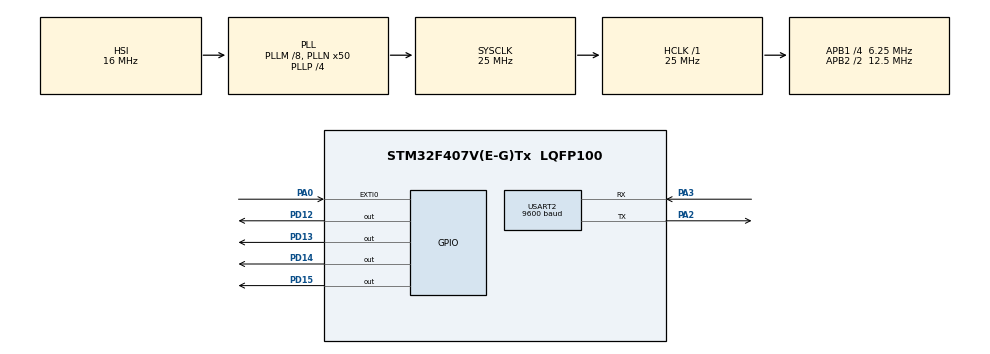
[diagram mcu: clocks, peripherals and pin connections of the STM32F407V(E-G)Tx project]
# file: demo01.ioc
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Mcu.Family=STM32F4
RCC.CortexFreq_Value=25000000
RCC.APB1CLKDivider=RCC_HCLK_DIV4
USART2.BaudRate=9600
RCC.SYSCLKSource=RCC_SYSCLKSOURCE_PLLCLK
ProjectManager.StackSize=0x400
PA0-WKUP.Signal=GPXTI0
PD13.Signal=GPIO_Output
PA3.Mode=Asynchronous
ProjectManager.TargetToolchain=STM32CubeIDE
RCC.HCLKFreq_Value=25000000
RCC.APB2TimFreq_Value=25000000
RCC.LSE_VALUE=32768
RCC.AHBFreq_Value=25000000
RCC.HSE_VALUE=8000000
board=STM32F407G-DISC1
RCC.VCOOutputFreq_Value=100000000
RCC.APB2Freq_Value=12500000
PD13.GPIO_PuPd=GPIO_NOPULL
PD14.GPIO_PuPd=GPIO_NOPULL
Mcu.Name=STM32F407V(E-G)Tx
PA2.Signal=USART2_TX
PD14.Signal=GPIO_Output
RCC.48MHZClocksFreq_Value=14285714.285714285
NVIC.EXTI0_IRQn=true\:0\:0\:false\:false\:true\:true\:true
RCC.SYSCLKFreq_VALUE=25000000
Mcu.Package=LQFP100
USART2.VirtualMode=VM_ASYNC
PD12.Signal=GPIO_Output
PD15.GPIO_PuPd=GPIO_NOPULL
ProjectManager.HeapSize=0x200
RCC.HSI_VALUE=16000000
RCC.PLLP=RCC_PLLP_DIV4
RCC.PLLQ=7
NVIC.PriorityGroup=NVIC_PRIORITYGROUP_0
RCC.APB2CLKDivider=RCC_HCLK_DIV2
RCC.PLLM=8
RCC.PLLN=50
RCC.APB1TimFreq_Value=12500000
PA2.Mode=Asynchronous
RCC.APB1Freq_Value=6250000
PD15.Signal=GPIO_Output
PD12.GPIO_PuPd=GPIO_NOPULL
PA3.Signal=USART2_RX

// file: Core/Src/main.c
/* USER CODE BEGIN Header */
/**
  ******************************************************************************
  * @file           : main.c
  * @brief          : Main program body
  ******************************************************************************
  * @attention
  *
  * <h2><center>&copy; Copyright (c) 2022 STMicroelectronics.
  * All rights reserved.</center></h2>
  *
  * This software component is licensed by ST under BSD 3-Clause license,
  * the "License"; You may not use this file except in compliance with the
  * License. You may obtain a copy of the License at:
  *                        opensource.org/licenses/BSD-3-Clause
  *
  ******************************************************************************
  */
/* USER CODE END Header */
#include "main.h"

/* USER CODE BEGIN Includes */
#include<stdio.h>
#include<string.h>
/* USER CODE END Includes */

UART_HandleTypeDef huart2;

/* USER CODE BEGIN PV */
volatile int switch_flag =0;
/* USER CODE END PV */

void SystemClock_Config(void);
static void MX_GPIO_Init(void);
static void MX_USART2_UART_Init(void);

/* USER CODE BEGIN 0 */
void UartReceive(char str[])
{
	char ch;
	int i =0;

	do
	{
		HAL_UART_Receive(&huart2,(uint8_t*)&ch, 1, HAL_MAX_DELAY);
		str[i] = ch;
		i++;

	}while(ch != '\r');
	str[i] = '\n';
	i++;
	str[i] = '\0';

}

void pattern1(void)
{
	do{
	HAL_GPIO_TogglePin(GPIOD, GPIO_PIN_12);
	HAL_GPIO_TogglePin(GPIOD, GPIO_PIN_13);
	HAL_GPIO_TogglePin(GPIOD, GPIO_PIN_14);
	HAL_GPIO_TogglePin(GPIOD, GPIO_PIN_15);

	HAL_Delay(1000);
	}while(switch_flag !=1);

	//switch_flag =0;
	HAL_GPIO_WritePin(GPIOD, GPIO_PIN_12, GPIO_PIN_RESET);
	HAL_GPIO_WritePin(GPIOD, GPIO_PIN_13, GPIO_PIN_RESET);
	HAL_GPIO_WritePin(GPIOD, GPIO_PIN_14, GPIO_PIN_RESET);
	HAL_GPIO_WritePin(GPIOD, GPIO_PIN_15, GPIO_PIN_RESET);
}

void pattern2(void)
{
	do{
		HAL_GPIO_WritePin(GPIOD, GPIO_PIN_12, GPIO_PIN_SET);
		HAL_Delay(1000);
		HAL_GPIO_WritePin(GPIOD, GPIO_PIN_12, GPIO_PIN_RESET);
		HAL_GPIO_WritePin(GPIOD, GPIO_PIN_13, GPIO_PIN_SET);
		HAL_Delay(1000);
		HAL_GPIO_WritePin(GPIOD, GPIO_PIN_13, GPIO_PIN_RESET);
		HAL_GPIO_WritePin(GPIOD, GPIO_PIN_14, GPIO_PIN_SET);
		HAL_Delay(1000);
		HAL_GPIO_WritePin(GPIOD, GPIO_PIN_14, GPIO_PIN_RESET);
		HAL_GPIO_WritePin(GPIOD, GPIO_PIN_15, GPIO_PIN_SET);
		HAL_Delay(1000);
		HAL_GPIO_WritePin(GPIOD, GPIO_PIN_15, GPIO_PIN_RESET);
	}while(switch_flag !=1);
}

void pattern3(void)
{

	do{
		HAL_GPIO_WritePin(GPIOD, GPIO_PIN_12, GPIO_PIN_SET);
		HAL_GPIO_WritePin(GPIOD, GPIO_PIN_14, GPIO_PIN_SET);

		HAL_Delay(1000);

		HAL_GPIO_WritePin(GPIOD, GPIO_PIN_12, GPIO_PIN_RESET);
		HAL_GPIO_WritePin(GPIOD, GPIO_PIN_14, GPIO_PIN_RESET);

		HAL_GPIO_WritePin(GPIOD, GPIO_PIN_13, GPIO_PIN_SET);
		HAL_GPIO_WritePin(GPIOD, GPIO_PIN_15, GPIO_PIN_SET);

		HAL_Delay(1000);

		HAL_GPIO_WritePin(GPIOD, GPIO_PIN_13, GPIO_PIN_RESET);
		HAL_GPIO_WritePin(GPIOD, GPIO_PIN_15, GPIO_PIN_RESET);

	}while(switch_flag !=1);
}
/* USER CODE END 0 */

int main(void)
{
  /* USER CODE BEGIN 1 */
	char str[100];
	char choice;
  /* USER CODE END 1 */

  /* MCU Configuration--------------------------------------------------------*/

  /* Reset of all peripherals, Initializes the Flash interface and the Systick. */
  HAL_Init();

  /* Configure the system clock */
  SystemClock_Config();

  /* Initialize all configured peripherals */
  MX_GPIO_Init();
  MX_USART2_UART_Init();

  /* Infinite loop */
  while (1)
  {
	  if(switch_flag==1)
	  {
		  strcpy(str,"Select One Option\r\na.Pattern 1\r\nb.Pattern 2\r\nc.Pattern3\r\n");
		  HAL_UART_Transmit(&huart2, (uint8_t*)str, strlen(str), HAL_MAX_DELAY);
		  switch_flag =0;
		  HAL_Delay(1000);

		  UartReceive(str);
		  sscanf(str,"%c",&choice);

		  switch(choice)
		  {
		  case 'a':
			  pattern1();
			  break;
		  case 'b':
			  pattern2();
			  break;
		  case 'c':
			  pattern3();
			  break;

		  default:
			  strcpy(str,"Select approprite option\r\n");
			  HAL_UART_Transmit(&huart2, (uint8_t*)str, strlen(str), HAL_MAX_DELAY);
		  }

	  }
  }
}

void SystemClock_Config(void)
{
  RCC_OscInitTypeDef RCC_OscInitStruct = {0};
  RCC_ClkInitTypeDef RCC_ClkInitStruct = {0};

  /** Configure the main internal regulator output voltage
  */
  __HAL_RCC_PWR_CLK_ENABLE();
  __HAL_PWR_VOLTAGESCALING_CONFIG(PWR_REGULATOR_VOLTAGE_SCALE1);
  /** Initializes the RCC Oscillators according to the specified parameters
  * in the RCC_OscInitTypeDef structure.
  */
  RCC_OscInitStruct.OscillatorType = RCC_OSCILLATORTYPE_HSI;
  RCC_OscInitStruct.HSIState = RCC_HSI_ON;
  RCC_OscInitStruct.HSICalibrationValue = RCC_HSICALIBRATION_DEFAULT;
  RCC_OscInitStruct.PLL.PLLState = RCC_PLL_ON;
  RCC_OscInitStruct.PLL.PLLSource = RCC_PLLSOURCE_HSI;
  RCC_OscInitStruct.PLL.PLLM = 8;
  RCC_OscInitStruct.PLL.PLLN = 50;
  RCC_OscInitStruct.PLL.PLLP = RCC_PLLP_DIV4;
  RCC_OscInitStruct.PLL.PLLQ = 7;
  if (HAL_RCC_OscConfig(&RCC_OscInitStruct) != HAL_OK)
  {
    Error_Handler();
  }
  /** Initializes the CPU, AHB and APB buses clocks
  */
  RCC_ClkInitStruct.ClockType = RCC_CLOCKTYPE_HCLK|RCC_CLOCKTYPE_SYSCLK
                              |RCC_CLOCKTYPE_PCLK1|RCC_CLOCKTYPE_PCLK2;
  RCC_ClkInitStruct.SYSCLKSource = RCC_SYSCLKSOURCE_PLLCLK;
  RCC_ClkInitStruct.AHBCLKDivider = RCC_SYSCLK_DIV1;
  RCC_ClkInitStruct.APB1CLKDivider = RCC_HCLK_DIV4;
  RCC_ClkInitStruct.APB2CLKDivider = RCC_HCLK_DIV2;

  if (HAL_RCC_ClockConfig(&RCC_ClkInitStruct, FLASH_LATENCY_0) != HAL_OK)
  {
    Error_Handler();
  }
}

static void MX_USART2_UART_Init(void)
{

  huart2.Instance = USART2;
  huart2.Init.BaudRate = 9600;
  huart2.Init.WordLength = UART_WORDLENGTH_8B;
  huart2.Init.StopBits = UART_STOPBITS_1;
  huart2.Init.Parity = UART_PARITY_NONE;
  huart2.Init.Mode = UART_MODE_TX_RX;
  huart2.Init.HwFlowCtl = UART_HWCONTROL_NONE;
  huart2.Init.OverSampling = UART_OVERSAMPLING_16;
  if (HAL_UART_Init(&huart2) != HAL_OK)
  {
    Error_Handler();
  }

}

static void MX_GPIO_Init(void)
{
  GPIO_InitTypeDef GPIO_InitStruct = {0};

  /* GPIO Ports Clock Enable */
  __HAL_RCC_GPIOA_CLK_ENABLE();
  __HAL_RCC_GPIOD_CLK_ENABLE();

  /*Configure GPIO pin Output Level */
  HAL_GPIO_WritePin(GPIOD, GPIO_PIN_12|GPIO_PIN_13|GPIO_PIN_14|GPIO_PIN_15, GPIO_PIN_RESET);

  /*Configure GPIO pin : PA0 */
  GPIO_InitStruct.Pin = GPIO_PIN_0;
  GPIO_InitStruct.Mode = GPIO_MODE_IT_RISING;
  GPIO_InitStruct.Pull = GPIO_NOPULL;
  HAL_GPIO_Init(GPIOA, &GPIO_InitStruct);

  /*Configure GPIO pins : PD12 PD13 PD14 PD15 */
  GPIO_InitStruct.Pin = GPIO_PIN_12|GPIO_PIN_13|GPIO_PIN_14|GPIO_PIN_15;
  GPIO_InitStruct.Mode = GPIO_MODE_OUTPUT_PP;
  GPIO_InitStruct.Pull = GPIO_NOPULL;
  GPIO_InitStruct.Speed = GPIO_SPEED_FREQ_LOW;
  HAL_GPIO_Init(GPIOD, &GPIO_InitStruct);

  /* EXTI interrupt init*/
  HAL_NVIC_SetPriority(EXTI0_IRQn, 0, 0);
  HAL_NVIC_EnableIRQ(EXTI0_IRQn);

}

/* USER CODE BEGIN 4 */
void HAL_GPIO_EXTI_Callback(uint16_t GPIO_Pin)
{
  switch_flag = 1;
}
/* USER CODE END 4 */

void Error_Handler(void)
{
  __disable_irq();
  while (1)
  {
  }
}

/************************ (C) COPYRIGHT STMicroelectronics *****END OF FILE****/
